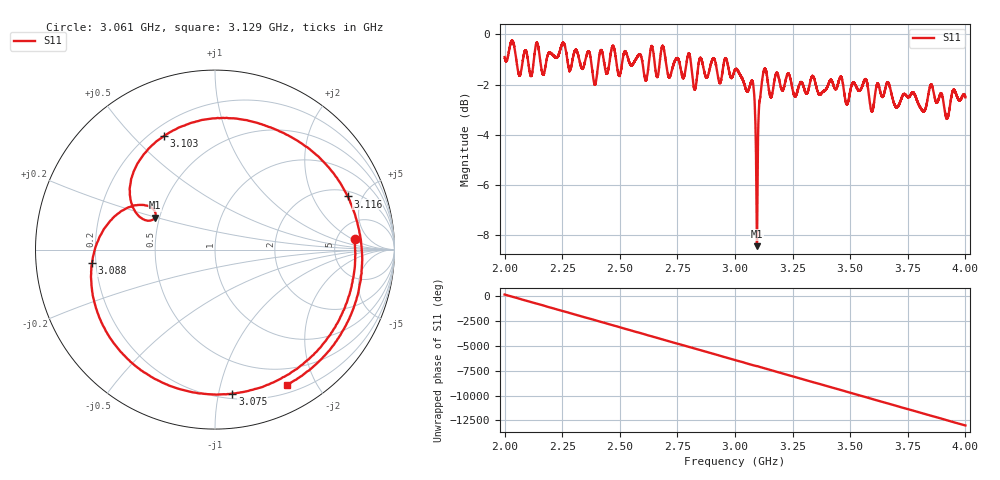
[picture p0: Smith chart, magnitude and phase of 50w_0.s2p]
!Agilent Technologies,E8362B,MY43021131,A.07.50.67
!Agilent E8362B: A.07.50.67
!Date: Thursday, March 14, 2024 15:12:30
!Correction: S11(Off)
!S21(Off)
!S12(Off)
!S22(Off)
!S2P File: Measurements: S11, S21, S12, S22:
# Hz S  RI  R 50
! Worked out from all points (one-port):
!   20001 points, 2 GHz to 4 GHz, reference 50 ohm
!   lowest |S11| = -8.4 dB at 3.095 GHz (marker M1), VSWR 2.22, Z = 23.6 + j9.81 ohm
!   |S11| at or under -10 dB: nowhere
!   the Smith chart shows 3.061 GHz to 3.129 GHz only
!   S11 on the Smith chart (normalised r, x): 3.061 GHz: 7.46, +2.16; 3.075 GHz: 0.24, -1.10; 3.088 GHz: 0.18, -0.05; 3.103 GHz: 0.25, +0.62; 3.116 GHz: 2.35, +3.80; 3.129 GHz: 0.29, -1.63
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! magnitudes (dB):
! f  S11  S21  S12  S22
! 2 GHz  -0.9  -  -  -
! 2.333 GHz  -1.3  -  -  -
! 2.667 GHz  -1.6  -  -  -
! 2.686 GHz  -0.5  -  -  -
! 2.825 GHz  -2.2  -  -  -
! 2.85 GHz  -0.9  -  -  -
! 3 GHz  -1.4  -  -  -
! 3.061 GHz  -2.2  -  -  -
! 3.075 GHz  -1.8  -  -  -
! 3.088 GHz  -3.2  -  -  -
! 3.095 GHz  -8.4  -  -  -
! 3.103 GHz  -3.2  -  -  -
! 3.116 GHz  -2.0  -  -  -
! 3.129 GHz  -1.4  -  -  -
! 3.156 GHz  -2.5  -  -  -
! 3.333 GHz  -1.7  -  -  -
! 3.486 GHz  -2.8  -  -  -
! 3.566 GHz  -1.8  -  -  -
! 3.594 GHz  -3.1  -  -  -
! 3.667 GHz  -1.9  -  -  -
! 3.92 GHz  -3.3  -  -  -
! 4 GHz  -2.5  -  -  -
